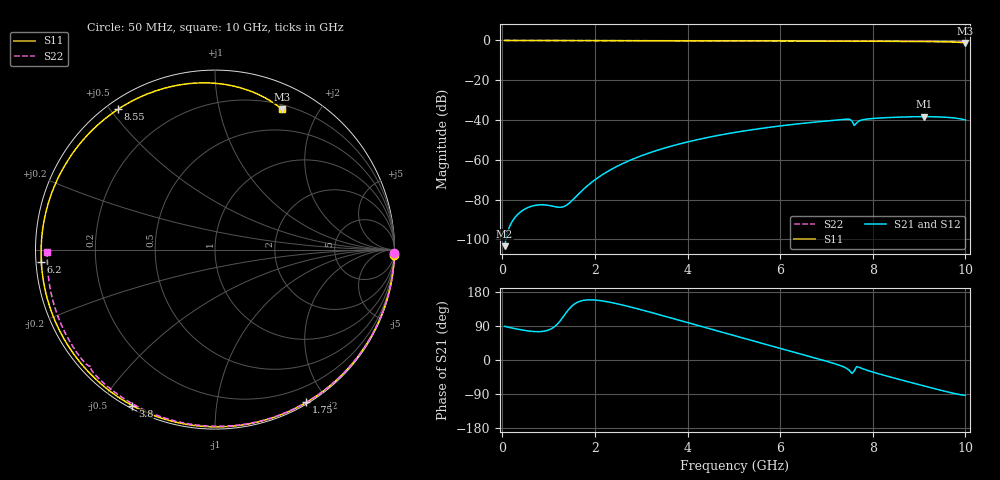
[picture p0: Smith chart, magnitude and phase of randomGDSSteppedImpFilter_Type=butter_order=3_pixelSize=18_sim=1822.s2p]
! freq	dB(S11)	phase(S11)	dB(S12)	phase(S12)
!  dB(S21)	phase(S21)	dB(S22)	phase(S22)
!S-par simulation data
#  GHz  S  DB  R 50
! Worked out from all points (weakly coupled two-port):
!   200 points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, 50 MHz to 10 GHz, reference 50 ohm
!   highest |S21| = -38.30 dB at 9.1 GHz (marker M1); lowest = -103.4 dB at 50 MHz (marker M2)
!   lowest |S11| = -1.2 dB at 10 GHz (marker M3), VSWR 14.07, Z = 12.3 + j77.9 ohm
!   |S11| at or under -10 dB: nowhere
!   |S22| runs from -0.6 to 0.0 dB; largest |S21 - S12| = 0
!   S11 on the Smith chart (normalised r, x): 50 MHz: 0, -65; 1.75 GHz: 0.02, -1.76; 3.8 GHz: 0.01, -0.60; 6.2 GHz: 0.02, -0.03; 8.55 GHz: 0.03, +0.52; 10 GHz: 0.25, +1.56
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0.05  -0.00 -1.8  -103.38 88.7  -103.38 88.7  -0.00 -1.0
0.75  -0.03 -26.0  -82.73 74.8  -82.73 74.8  -0.02 -14.9
1.5  -0.06 -51.1  -80.59 142.0  -80.59 142.0  -0.04 -29.7
1.75  -0.07 -59.1  -74.84 157.3  -74.84 157.3  -0.04 -34.5
2.05  -0.08 -68.5  -69.19 157.7  -69.19 157.7  -0.05 -40.2
2.45  -0.10 -80.5  -63.59 149.2  -63.59 149.2  -0.06 -47.8
3.4  -0.13 -107.3  -54.81 119.2  -54.81 119.2  -0.09 -65.4
3.8  -0.14 -117.9  -52.17 105.6  -52.17 105.6  -0.10 -72.6
4.45  -0.17 -134.3  -48.68 83.3  -48.68 83.3  -0.12 -84.1
5.05  -0.20 -148.9  -46.11 62.8  -46.11 62.8  -0.15 -94.4
6.2  -0.26 -176.0  -42.40 24.0  -42.40 24.0  -0.21 -113.8
6.7  -0.30 172.1  -41.15 7.2  -41.15 7.2  -0.24 -122.1
7.5  -0.36 152.6  -39.61 -28.2  -39.61 -28.2  -0.35 -135.7
7.55  -0.36 151.4  -40.42 -35.6  -40.42 -35.6  -0.41 -136.6
7.6  -0.37 150.1  -42.72 -28.9  -42.72 -28.9  -0.46 -136.8
7.7  -0.37 147.6  -40.50 -19.0  -40.50 -19.0  -0.36 -138.2
7.8  -0.38 145.0  -39.77 -23.9  -39.77 -23.9  -0.34 -140.0
8.35  -0.42 130.3  -38.73 -44.0  -38.73 -44.0  -0.39 -149.5
8.55  -0.44 124.7  -38.54 -50.6  -38.54 -50.6  -0.41 -153.0
9.1  -0.52 107.5  -38.30 -68.3  -38.30 -68.3  -0.47 -162.6
9.65  -0.72 85.7  -38.72 -85.3  -38.72 -85.3  -0.55 -172.6
10  -1.24 64.4  -39.94 -93.4  -39.94 -93.4  -0.60 -179.3
